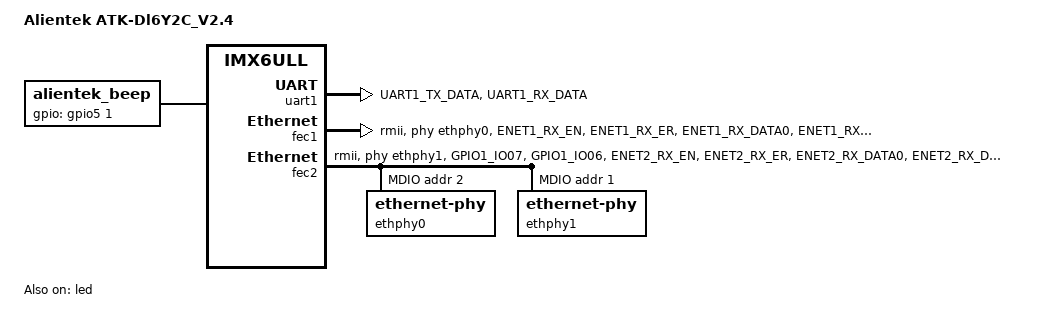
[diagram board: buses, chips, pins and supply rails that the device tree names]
// SPDX-License-Identifier: (GPL-2.0 OR MIT)
//
// Copyright (C) 2016 Freescale Semiconductor, Inc.

/dts-v1/;

#include "imx6ull.dtsi"

/ {
	model = "Alientek ATK-Dl6Y2C_V2.4";
	compatible = "fsl,imx6ull-14x14-evk", "fsl,imx6ull";

	chosen {
		stdout-path = &uart1;
	};

	led {
		#address-cell = <1>;
		#size-cell = <1>;
		compatible = "alientek_led";
		reg = <	0X020C406C 0X04 	/* CCM_CCGR1_BASE */
				0X020E0068 0X04 	/* SW_MUX_GPIO1_IO03_BASE */
				0X020E02F4 0X04 	/* SW_PAD_GPIO1_IO03_BASE */
				0X0209C000 0X04 	/* GPIO1_DR_BASE */
				0X0209C004 0X04 	/* GPIO1_GDIR_BASE */
				>;
		status = "okay";
	};

	beep {
		#address-cell = <1>;
		#size-cell = <1>;
		compatible = "alientek_beep";
		pinctrl-names = "default";
		pinctrl-0 = <&pinctrl_beep>;
		gpio = <&gpio5 1 GPIO_ACTIVE_HIGH>;
		status = "okay";
	};
};

&clks {
	assigned-clocks = <&clks IMX6UL_CLK_PLL3_PFD2>;
	assigned-clock-rates = <320000000>;
};

&uart1 {
	pinctrl-names = "default";
	pinctrl-0 = <&pinctrl_uart1>;
	status = "okay";
};

&fec1 {
	pinctrl-names = "default";
	pinctrl-0 = <&pinctrl_enet1>;
	phy-mode = "rmii";
	phy-handle = <&ethphy0>;
	status = "okay";
};

&fec2 {
	pinctrl-names = "default";
	pinctrl-0 = <&pinctrl_enet2>;
	phy-mode = "rmii";
	phy-handle = <&ethphy1>;
	status = "okay";

	mdio {
		#address-cells = <1>;
		#size-cells = <0>;

		ethphy0: ethernet-phy@2 {
			reg = <2>;
			micrel,led-mode = <1>;
			clocks = <&clks IMX6UL_CLK_ENET_REF>;
			clock-names = "rmii-ref";
		};

		ethphy1: ethernet-phy@1 {
			reg = <1>;
			micrel,led-mode = <1>;
			clocks = <&clks IMX6UL_CLK_ENET2_REF>;
			clock-names = "rmii-ref";
		};
	};
};

&iomuxc {

	pinctrl_uart1: uart1grp {
		fsl,pins = <
			MX6UL_PAD_UART1_TX_DATA__UART1_DCE_TX 0x1b0b1
			MX6UL_PAD_UART1_RX_DATA__UART1_DCE_RX 0x1b0b1
		>;
	};

	pinctrl_enet1: enet1grp {
		fsl,pins = <
			MX6UL_PAD_ENET1_RX_EN__ENET1_RX_EN	0x1b0b0
			MX6UL_PAD_ENET1_RX_ER__ENET1_RX_ER	0x1b0b0
			MX6UL_PAD_ENET1_RX_DATA0__ENET1_RDATA00	0x1b0b0
			MX6UL_PAD_ENET1_RX_DATA1__ENET1_RDATA01	0x1b0b0
			MX6UL_PAD_ENET1_TX_EN__ENET1_TX_EN	0x1b0b0
			MX6UL_PAD_ENET1_TX_DATA0__ENET1_TDATA00	0x1b0b0
			MX6UL_PAD_ENET1_TX_DATA1__ENET1_TDATA01	0x1b0b0
			MX6UL_PAD_ENET1_TX_CLK__ENET1_REF_CLK1	0x4001b031
		>;
	};

	pinctrl_enet2: enet2grp {
		fsl,pins = <
			MX6UL_PAD_GPIO1_IO07__ENET2_MDC		0x1b0b0
			MX6UL_PAD_GPIO1_IO06__ENET2_MDIO	0x1b0b0
			MX6UL_PAD_ENET2_RX_EN__ENET2_RX_EN	0x1b0b0
			MX6UL_PAD_ENET2_RX_ER__ENET2_RX_ER	0x1b0b0
			MX6UL_PAD_ENET2_RX_DATA0__ENET2_RDATA00	0x1b0b0
			MX6UL_PAD_ENET2_RX_DATA1__ENET2_RDATA01	0x1b0b0
			MX6UL_PAD_ENET2_TX_EN__ENET2_TX_EN	0x1b0b0
			MX6UL_PAD_ENET2_TX_DATA0__ENET2_TDATA00	0x1b0b0
			MX6UL_PAD_ENET2_TX_DATA1__ENET2_TDATA01	0x1b0b0
			MX6UL_PAD_ENET2_TX_CLK__ENET2_REF_CLK2	0x4001b031
		>;
	};

	pinctrl_beep: beepgrp {
		fsl,pins = <
			MX6ULL_PAD_SNVS_TAMPER1__GPIO5_IO01 0x10B0 /* beep */
		>;
	};
};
